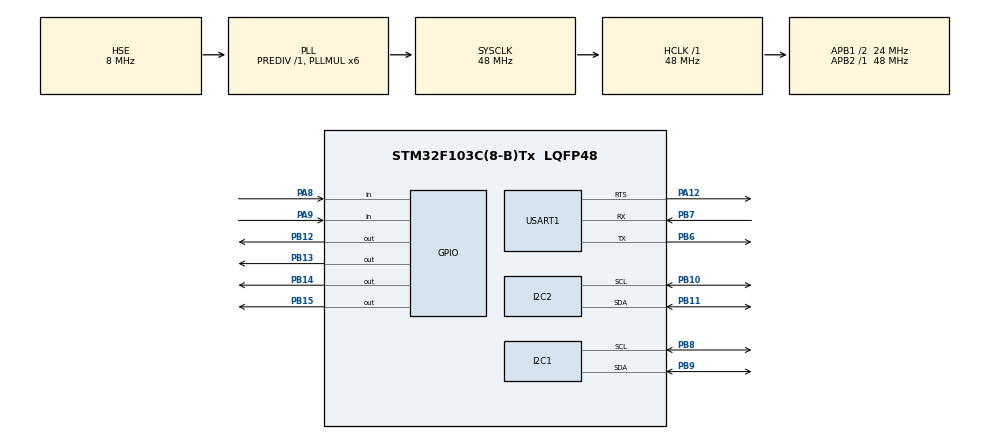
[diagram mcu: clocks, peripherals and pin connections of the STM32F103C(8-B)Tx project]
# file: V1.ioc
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Dma.I2C1_RX.0.Direction=DMA_PERIPH_TO_MEMORY
Dma.I2C1_RX.0.Instance=DMA1_Channel7
Dma.I2C1_RX.0.MemDataAlignment=DMA_MDATAALIGN_BYTE
Dma.I2C1_RX.0.MemInc=DMA_MINC_ENABLE
Dma.I2C1_RX.0.Mode=DMA_NORMAL
Dma.I2C1_RX.0.PeriphDataAlignment=DMA_PDATAALIGN_BYTE
Dma.I2C1_RX.0.PeriphInc=DMA_PINC_DISABLE
Dma.I2C1_RX.0.Priority=DMA_PRIORITY_LOW
Dma.I2C1_TX.1.Direction=DMA_MEMORY_TO_PERIPH
Dma.I2C1_TX.1.Instance=DMA1_Channel6
Dma.I2C1_TX.1.MemDataAlignment=DMA_MDATAALIGN_BYTE
Dma.I2C1_TX.1.MemInc=DMA_MINC_ENABLE
Dma.I2C1_TX.1.Mode=DMA_NORMAL
Dma.I2C1_TX.1.PeriphDataAlignment=DMA_PDATAALIGN_BYTE
Dma.I2C1_TX.1.PeriphInc=DMA_PINC_DISABLE
Dma.I2C1_TX.1.Priority=DMA_PRIORITY_LOW
Dma.I2C2_RX.2.Direction=DMA_PERIPH_TO_MEMORY
Dma.I2C2_RX.2.Instance=DMA1_Channel5
Dma.I2C2_RX.2.MemDataAlignment=DMA_MDATAALIGN_BYTE
Dma.I2C2_RX.2.MemInc=DMA_MINC_ENABLE
Dma.I2C2_RX.2.Mode=DMA_NORMAL
Dma.I2C2_RX.2.PeriphDataAlignment=DMA_PDATAALIGN_BYTE
Dma.I2C2_RX.2.PeriphInc=DMA_PINC_DISABLE
Dma.I2C2_RX.2.Priority=DMA_PRIORITY_LOW
Dma.I2C2_TX.3.Direction=DMA_MEMORY_TO_PERIPH
Dma.I2C2_TX.3.Instance=DMA1_Channel4
Dma.I2C2_TX.3.MemDataAlignment=DMA_MDATAALIGN_BYTE
Dma.I2C2_TX.3.MemInc=DMA_MINC_ENABLE
Dma.I2C2_TX.3.Mode=DMA_NORMAL
Dma.I2C2_TX.3.PeriphDataAlignment=DMA_PDATAALIGN_BYTE
Dma.I2C2_TX.3.PeriphInc=DMA_PINC_DISABLE
Dma.I2C2_TX.3.Priority=DMA_PRIORITY_LOW
Dma.Request0=I2C1_RX
Dma.Request1=I2C1_TX
Dma.Request2=I2C2_RX
Dma.Request3=I2C2_TX
Mcu.Family=STM32F1
Mcu.Name=STM32F103C(8-B)Tx
Mcu.Package=LQFP48
NVIC.DMA1_Channel4_IRQn=true\:0\:0\:false\:false\:true\:false\:true\:true
NVIC.DMA1_Channel5_IRQn=true\:0\:0\:false\:false\:true\:false\:true\:true
NVIC.DMA1_Channel6_IRQn=true\:0\:0\:false\:false\:true\:false\:true\:true
NVIC.DMA1_Channel7_IRQn=true\:0\:0\:false\:false\:true\:false\:true\:true
NVIC.PriorityGroup=NVIC_PRIORITYGROUP_4
PA12.Mode=RTS_Only
PA12.Signal=USART1_RTS
PA13.Mode=Serial_Wire
PA13.Signal=SYS_JTMS-SWDIO
PA14.Mode=Serial_Wire
PA14.Signal=SYS_JTCK-SWCLK
PA8.Signal=GPIO_Input
PA9.Signal=GPIO_Input
PB10.Mode=I2C
PB10.Signal=I2C2_SCL
PB11.Mode=I2C
PB11.Signal=I2C2_SDA
PB12.Signal=GPIO_Output
PB13.Signal=GPIO_Output
PB14.Signal=GPIO_Output
PB15.Signal=GPIO_Output
PB6.Mode=Asynchronous
PB6.Signal=USART1_TX
PB7.Mode=Asynchronous
PB7.Signal=USART1_RX
PB8.Mode=I2C
PB8.Signal=I2C1_SCL
PB9.Mode=I2C
PB9.Signal=I2C1_SDA
PC14-OSC32_IN.Mode=LSE-External-Oscillator
PC14-OSC32_IN.Signal=RCC_OSC32_IN
PC15-OSC32_OUT.Mode=LSE-External-Oscillator
PC15-OSC32_OUT.Signal=RCC_OSC32_OUT
PD0-OSC_IN.Mode=HSE-External-Oscillator
PD0-OSC_IN.Signal=RCC_OSC_IN
PD1-OSC_OUT.Mode=HSE-External-Oscillator
PD1-OSC_OUT.Signal=RCC_OSC_OUT
ProjectManager.HeapSize=0x200
ProjectManager.StackSize=0x400
ProjectManager.TargetToolchain=MDK-ARM V5.32
RCC.AHBFreq_Value=48000000
RCC.APB1CLKDivider=RCC_HCLK_DIV2
RCC.APB1Freq_Value=24000000
RCC.APB1TimFreq_Value=48000000
RCC.APB2Freq_Value=48000000
RCC.APB2TimFreq_Value=48000000
RCC.HCLKFreq_Value=48000000
RCC.PLLMUL=RCC_PLL_MUL6
RCC.PLLSourceVirtual=RCC_PLLSOURCE_HSE
RCC.SYSCLKFreq_VALUE=48000000
RCC.SYSCLKSource=RCC_SYSCLKSOURCE_PLLCLK
RCC.USBFreq_Value=48000000
USART1.VirtualMode=VM_ASYNC
board=custom

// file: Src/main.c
/* USER CODE BEGIN Header */
/**
  ******************************************************************************
  * @file           : main.c
  * @brief          : Main program body
  ******************************************************************************
  * @attention
  *
  * Copyright (c) 2025 STMicroelectronics.
  * All rights reserved.
  *
  * This software is licensed under terms that can be found in the LICENSE file
  * in the root directory of this software component.
  * If no LICENSE file comes with this software, it is provided AS-IS.
  *
  ******************************************************************************
  */
/* USER CODE END Header */
#include "main.h"
#include "dma.h"
#include "i2c.h"
#include "usart.h"
#include "gpio.h"
#include "kalman_filter.h"

/* USER CODE BEGIN PD */
extern volatile uint32_t systick_counter;

void SystemClock_Config(void);
void MX_GPIO_Init(void);
void MX_I2C1_Init(void);
void MX_I2C2_Init(void);
/* USER CODE END PD */

/* USER CODE BEGIN PM */

// IMU Slave address
#define IMU_ADDR 0x6A
#define MAG_ADDR 0x1E
#define ACC_ADDR 0x19

// Configuration registers (unchanged from your code)
#define OUT_TEMP_L 0x20
#define OUT_TEMP_H 0x21
#define OUTX_L_G 0x22
#define OUTX_H_G 0x23
#define OUTY_L_G 0x24
#define OUTY_H_G 0x25
#define OUTZ_L_G 0x26
#define OUTZ_H_G 0x27
#define OUTX_L_A 0x28
#define OUTX_H_A 0x29
#define OUTY_L_A 0x2A
#define OUTY_H_A 0x2B
#define OUTZ_L_A 0x2C
#define OUTZ_H_A 0x2D

#define OUT_TEMP_L_A 0x0D
#define OUT_TEMP_H_A 0x0C
#define OUT_X_L_A 0x28
#define OUT_X_H_A 0x29
#define OUT_Y_L_A 0x2A
#define OUT_Y_H_A 0x2B
#define OUT_Z_L_A 0x2C
#define OUT_Z_H_A 0x2D
#define OUT_X_L_REG_M 0x68
#define OUT_X_H_REG_M 0x69
#define OUT_Y_L_REG_M 0x6A
#define OUT_Y_H_REG_M 0x6B
#define OUT_Z_L_REG_M 0x6C
#define OUT_Z_H_REG_M 0x6D

/* USER CODE END PM */

void SystemClock_Config(void);
/* USER CODE BEGIN PFP */

void HAL_SYSTICK_Callback(void)
{
  static uint32_t counter = 0;
  counter++;
  if (counter >= 1000)
  {
    counter = 0;
    HAL_GPIO_TogglePin(GPIOC, GPIO_PIN_13);
  }
  systick_counter++;  // Increment global systick counter
}

float Converter(uint8_t xr_l, uint8_t xr_h, uint8_t mode)
{
  float x, param;
  uint16_t xr;

  if (mode == 0)
    param = 60.0f; // Temperature
  else if (mode == 1)
    param = 19.6f; // Accelerometer
  else if (mode == 2)
    param = 250.0f; // Gyroscope
  else if (mode == 3)
    param = 50.0f; // Magnetometer

  xr = ((int16_t)xr_h << 8) | xr_l;

  if (xr > 32768)
  {
    x = (xr - 65536) * param / 32768.0f;
  }
  else
  {
    x = xr * param / 32768.0f;
  }
  return x;
}

void I2C_Write_Register(I2C_HandleTypeDef *hi2c, uint8_t devAddr, uint8_t regAddr, uint8_t data)
{
  HAL_I2C_Mem_Write(hi2c, devAddr << 1, regAddr, I2C_MEMADD_SIZE_8BIT, &data, 1, HAL_MAX_DELAY);
}

HAL_StatusTypeDef I2C_Read_Register(I2C_HandleTypeDef *hi2c, uint8_t devAddr, uint8_t regAddr, uint8_t *data)
{
  return HAL_I2C_Mem_Read(hi2c, devAddr << 1, regAddr, I2C_MEMADD_SIZE_8BIT, data, 1, HAL_MAX_DELAY);
}

void Init_Register(I2C_HandleTypeDef *hi2c)
{
  uint8_t PIN_CTRL[] = {0x02, 0x7F};
  uint8_t CTRL1_XL[] = {0x10, 0x60};
  uint8_t CTRL2_G[] = {0x11, 0x60};
  uint8_t CTRL4_C[] = {0x13, 0x00};
  uint8_t CTRL6_C[] = {0x15, 0x00};
  uint8_t CTRL7_G[] = {0x16, 0x00};

  uint8_t TEMP_CFG_REG_A[] = {0x1F, 0xC0};
  uint8_t CTRL_REG1_A[] = {0x20, 0x77};
  uint8_t CTRL_REG2_A[] = {0x21, 0x00};
  uint8_t CTRL_REG3_A[] = {0x22, 0x00};
  uint8_t CTRL_REG4_A[] = {0x23, 0x80};
  uint8_t CTRL_REG_A_M[] = {0x60, 0x9C};
  uint8_t CFG_REG_B_M[] = {0x61, 0x02};
  uint8_t CFG_REG_C_M[] = {0x62, 0x10};

  I2C_Write_Register(hi2c, IMU_ADDR, CTRL1_XL[0], CTRL1_XL[1]);
  I2C_Write_Register(hi2c, IMU_ADDR, CTRL2_G[0], CTRL2_G[1]);
  I2C_Write_Register(hi2c, IMU_ADDR, CTRL4_C[0], CTRL4_C[1]);
  I2C_Write_Register(hi2c, IMU_ADDR, CTRL6_C[0], CTRL6_C[1]);
  I2C_Write_Register(hi2c, IMU_ADDR, CTRL7_G[0], CTRL7_G[1]);

  I2C_Write_Register(hi2c, ACC_ADDR, TEMP_CFG_REG_A[0], TEMP_CFG_REG_A[1]);
  I2C_Write_Register(hi2c, ACC_ADDR, CTRL_REG1_A[0], CTRL_REG1_A[1]);
  I2C_Write_Register(hi2c, ACC_ADDR, CTRL_REG2_A[0], CTRL_REG2_A[1]);
  I2C_Write_Register(hi2c, ACC_ADDR, CTRL_REG3_A[0], CTRL_REG3_A[1]);
  I2C_Write_Register(hi2c, ACC_ADDR, CTRL_REG4_A[0], CTRL_REG4_A[1]);
  I2C_Write_Register(hi2c, ACC_ADDR, CTRL_REG_A_M[0], CTRL_REG_A_M[1]);

  I2C_Write_Register(hi2c, MAG_ADDR, CTRL_REG_A_M[0], CTRL_REG_A_M[1]);
  I2C_Write_Register(hi2c, MAG_ADDR, CFG_REG_B_M[0], CFG_REG_B_M[1]);
  I2C_Write_Register(hi2c, MAG_ADDR, CFG_REG_C_M[0], CFG_REG_C_M[1]);
}

/* USER CODE END PFP */

int main(void)
{

  /* MCU Configuration--------------------------------------------------------*/

  /* Reset of all peripherals, Initializes the Flash interface and the Systick. */
  HAL_Init();

  /* Configure the system clock */
  SystemClock_Config();

  /* Initialize all configured peripherals */
  MX_GPIO_Init();
  MX_DMA_Init();
  MX_I2C1_Init();
  MX_I2C2_Init();
  MX_USART1_UART_Init();
  KalmanFilter kf1;
  kalman_init(&kf1, 10);

  // Sensor data buffers
  uint8_t TEMP_IMU1[] = {0x00, 0x00};
  uint8_t GYR_P_IMU1[] = {0x00, 0x00};
  uint8_t GYR_R_IMU1[] = {0x00, 0x00};
  uint8_t GYR_Y_IMU1[] = {0x00, 0x00};
  uint8_t ACC_X_IMU1[] = {0x00, 0x00};
  uint8_t ACC_Y_IMU1[] = {0x00, 0x00};
  uint8_t ACC_Z_IMU1[] = {0x00, 0x00};
  uint8_t TEMP_ECP1[] = {0x00, 0x00};
  uint8_t ACC_X_ECP1[] = {0x00, 0x00};
  uint8_t ACC_Y_ECP1[] = {0x00, 0x00};
  uint8_t ACC_Z_ECP1[] = {0x00, 0x00};
  uint8_t MAG_X_ECP1[] = {0x00, 0x00};
  uint8_t MAG_Y_ECP1[] = {0x00, 0x00};
  uint8_t MAG_Z_ECP1[] = {0x00, 0x00};

  float temp_imu1 = 0.0f, gyr_r_imu1 = 0.0f, gyr_p_imu1 = 0.0f, gyr_y_imu1 = 0.0f;
  float acc_x_imu1 = 0.0f, acc_y_imu1 = 0.0f, acc_z_imu1 = 0.0f;
  float temp_ecp1 = 0.0f, acc_x_ecp1 = 0.0f, acc_y_ecp1 = 0.0f, acc_z_ecp1 = 0.0f;
  float mag_x_ecp1 = 0.0f, mag_y_ecp1 = 0.0f, mag_z_ecp1 = 0.0f;

  uint8_t TEMP_IMU2[] = {0x00, 0x00};
  uint8_t GYR_P_IMU2[] = {0x00, 0x00};
  uint8_t GYR_R_IMU2[] = {0x00, 0x00};
  uint8_t GYR_Y_IMU2[] = {0x00, 0x00};
  uint8_t ACC_X_IMU2[] = {0x00, 0x00};
  uint8_t ACC_Y_IMU2[] = {0x00, 0x00};
  uint8_t ACC_Z_IMU2[] = {0x00, 0x00};
  uint8_t TEMP_ECP2[] = {0x00, 0x00};
  uint8_t ACC_X_ECP2[] = {0x00, 0x00};
  uint8_t ACC_Y_ECP2[] = {0x00, 0x00};
  uint8_t ACC_Z_ECP2[] = {0x00, 0x00};
  uint8_t MAG_X_ECP2[] = {0x00, 0x00};
  uint8_t MAG_Y_ECP2[] = {0x00, 0x00};
  uint8_t MAG_Z_ECP2[] = {0x00, 0x00};

  float temp_imu2 = 0.0f, gyr_r_imu2 = 0.0f, gyr_p_imu2 = 0.0f, gyr_y_imu2 = 0.0f;
  float acc_x_imu2 = 0.0f, acc_y_imu2 = 0.0f, acc_z_imu2 = 0.0f;
  float temp_ecp2 = 0.0f, acc_x_ecp2 = 0.0f, acc_y_ecp2 = 0.0f, acc_z_ecp2 = 0.0f;
  float mag_x_ecp2 = 0.0f, mag_y_ecp2 = 0.0f, mag_z_ecp2 = 0.0f;

  char buffer[1024];
  HAL_StatusTypeDef I2C_Status;

  Init_Register(&hi2c1); // Sensor Set 1 on I2C1
  Init_Register(&hi2c2); // Sensor Set 2 on I2C2

  /* USER CODE END 2 */

  /* Infinite loop */
  while (1)
  {

  }
}

void SystemClock_Config(void)
{
  RCC_OscInitTypeDef RCC_OscInitStruct = {0};
  RCC_ClkInitTypeDef RCC_ClkInitStruct = {0};

  /** Initializes the RCC Oscillators according to the specified parameters
  * in the RCC_OscInitTypeDef structure.
  */
  RCC_OscInitStruct.OscillatorType = RCC_OSCILLATORTYPE_HSE;
  RCC_OscInitStruct.HSEState = RCC_HSE_ON;
  RCC_OscInitStruct.HSEPredivValue = RCC_HSE_PREDIV_DIV1;
  RCC_OscInitStruct.HSIState = RCC_HSI_ON;
  RCC_OscInitStruct.PLL.PLLState = RCC_PLL_ON;
  RCC_OscInitStruct.PLL.PLLSource = RCC_PLLSOURCE_HSE;
  RCC_OscInitStruct.PLL.PLLMUL = RCC_PLL_MUL6;
  if (HAL_RCC_OscConfig(&RCC_OscInitStruct) != HAL_OK)
  {
    Error_Handler();
  }

  /** Initializes the CPU, AHB and APB buses clocks
  */
  RCC_ClkInitStruct.ClockType = RCC_CLOCKTYPE_HCLK|RCC_CLOCKTYPE_SYSCLK
                              |RCC_CLOCKTYPE_PCLK1|RCC_CLOCKTYPE_PCLK2;
  RCC_ClkInitStruct.SYSCLKSource = RCC_SYSCLKSOURCE_PLLCLK;
  RCC_ClkInitStruct.AHBCLKDivider = RCC_SYSCLK_DIV1;
  RCC_ClkInitStruct.APB1CLKDivider = RCC_HCLK_DIV2;
  RCC_ClkInitStruct.APB2CLKDivider = RCC_HCLK_DIV1;

  if (HAL_RCC_ClockConfig(&RCC_ClkInitStruct, FLASH_LATENCY_1) != HAL_OK)
  {
    Error_Handler();
  }
}

void Error_Handler(void)
{
  __disable_irq();
  while (1)
  {
  }
}
